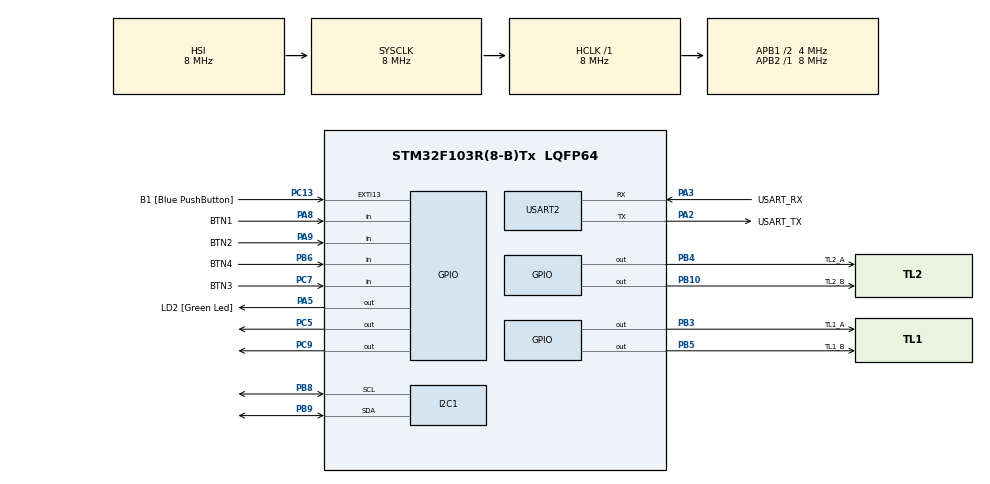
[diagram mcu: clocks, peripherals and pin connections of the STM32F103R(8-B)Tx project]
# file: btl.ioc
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Mcu.Family=STM32F1
Mcu.Name=STM32F103R(8-B)Tx
Mcu.Package=LQFP64
NVIC.EXTI15_10_IRQn=true\:0\:0\:false\:false\:true\:true\:true
NVIC.PriorityGroup=NVIC_PRIORITYGROUP_4
NVIC.TIM2_IRQn=true\:0\:0\:false\:false\:true\:true\:true
PA13.GPIO_Label=TMS
PA13.Mode=Serial_Wire
PA13.Signal=SYS_JTMS-SWDIO
PA14.GPIO_Label=TCK
PA14.Mode=Serial_Wire
PA14.Signal=SYS_JTCK-SWCLK
PA2.GPIO_Label=USART_TX
PA2.GPIO_Mode=GPIO_MODE_AF_PP
PA2.GPIO_PuPd=GPIO_NOPULL
PA2.GPIO_Speed=GPIO_SPEED_FREQ_LOW
PA2.Mode=Asynchronous
PA2.Signal=USART2_TX
PA3.GPIO_Label=USART_RX
PA3.GPIO_Mode=GPIO_MODE_AF_PP
PA3.GPIO_PuPd=GPIO_NOPULL
PA3.GPIO_Speed=GPIO_SPEED_FREQ_LOW
PA3.Mode=Asynchronous
PA3.Signal=USART2_RX
PA5.GPIO_Label=LD2 [Green Led]
PA5.GPIO_ModeDefaultOutputPP=GPIO_MODE_OUTPUT_PP
PA5.GPIO_PuPd=GPIO_NOPULL
PA5.GPIO_Speed=GPIO_SPEED_FREQ_LOW
PA5.Signal=GPIO_Output
PA8.GPIO_Label=BTN1
PA8.GPIO_PuPd=GPIO_PULLUP
PA8.Signal=GPIO_Input
PA9.GPIO_Label=BTN2
PA9.GPIO_PuPd=GPIO_PULLUP
PA9.Signal=GPIO_Input
PB10.GPIO_Label=TL2_B
PB10.Signal=GPIO_Output
PB3.GPIO_Label=TL1_A
PB3.Signal=GPIO_Output
PB4.GPIO_Label=TL2_A
PB4.Signal=GPIO_Output
PB5.GPIO_Label=TL1_B
PB5.Signal=GPIO_Output
PB6.GPIO_Label=BTN4
PB6.GPIO_PuPd=GPIO_PULLUP
PB6.Signal=GPIO_Input
PB8.Mode=I2C
PB8.Signal=I2C1_SCL
PB9.Mode=I2C
PB9.Signal=I2C1_SDA
PC13-TAMPER-RTC.GPIO_Label=B1 [Blue PushButton]
PC13-TAMPER-RTC.GPIO_PuPd=GPIO_NOPULL
PC13-TAMPER-RTC.Signal=GPXTI13
PC14-OSC32_IN.Mode=LSE-External-Oscillator
PC14-OSC32_IN.Signal=RCC_OSC32_IN
PC15-OSC32_OUT.Mode=LSE-External-Oscillator
PC15-OSC32_OUT.Signal=RCC_OSC32_OUT
PC5.Signal=GPIO_Output
PC7.GPIO_Label=BTN3
PC7.GPIO_PuPd=GPIO_PULLUP
PC7.Signal=GPIO_Input
PC9.Signal=GPIO_Output
PD0-OSC_IN.Mode=HSE-External-Clock-Source
PD0-OSC_IN.Signal=RCC_OSC_IN
PD1-OSC_OUT.Mode=HSE-External-Clock-Source
PD1-OSC_OUT.Signal=RCC_OSC_OUT
ProjectManager.HeapSize=0x200
ProjectManager.StackSize=0x400
ProjectManager.TargetToolchain=STM32CubeIDE
RCC.AHBFreq_Value=8000000
RCC.APB1CLKDivider=RCC_HCLK_DIV2
RCC.APB1Freq_Value=4000000
RCC.APB1TimFreq_Value=8000000
RCC.APB2Freq_Value=8000000
RCC.APB2TimFreq_Value=8000000
RCC.HCLKFreq_Value=8000000
RCC.PLLMUL=RCC_PLL_MUL16
RCC.RTCClockSelection=RCC_RTCCLKSOURCE_LSE
RCC.SYSCLKFreq_VALUE=8000000
RCC.USBFreq_Value=64000000
TIM2.Period=9
TIM2.Prescaler=7999
USART2.VirtualMode=VM_ASYNC
VP_TIM2_VS_ClockSourceINT.Mode=Internal
board=NUCLEO-F103RB

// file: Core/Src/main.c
/* USER CODE BEGIN Header */
/**
  ******************************************************************************
  * @file           : main.c
  * @brief          : Main program body
  ******************************************************************************
  * @attention
  *
  * <h2><center>&copy; Copyright (c) 2026 STMicroelectronics.
  * All rights reserved.</center></h2>
  *
  * This software component is licensed by ST under BSD 3-Clause license,
  * the "License"; You may not use this file except in compliance with the
  * License. You may obtain a copy of the License at:
  *                        opensource.org/licenses/BSD-3-Clause
  *
  ******************************************************************************
  */
/* USER CODE END Header */
#include "main.h"

/* USER CODE BEGIN Includes */

#include <stdio.h>
#include <string.h>

// Lớp 1: Hệ thống & Scheduler
#include "global.h"
#include "scheduler.h"
#include "software_timer.h"

// Lớp 2: Drivers Phần cứng
#include "button.h"
#include "traffic_light.h"
#include "lcd.h"
#include "dht20.h"

// Lớp 3: Máy trạng thái FSM
#include "fsm_automatic.h"
#include "fsm_manual.h"
#include "fsm_tuning.h"

/* USER CODE END Includes */

I2C_HandleTypeDef hi2c1;

TIM_HandleTypeDef htim2;

UART_HandleTypeDef huart2;

void SystemClock_Config(void);
static void MX_GPIO_Init(void);
static void MX_USART2_UART_Init(void);
static void MX_TIM2_Init(void);
static void MX_I2C1_Init(void);

/* USER CODE BEGIN 0 */
void HAL_TIM_PeriodElapsedCallback(TIM_HandleTypeDef *htim) {
    if (htim->Instance == TIM2) SCH_Update();
}
// Task 1: Quét 4 nút nhấn chống dội (10ms / 1 tick)
void task_button_scan(void) {
    button_reading();
}

// Task 2: Chạy bộ đếm Software Timer (10ms / 1 tick)
void task_timer_run(void) {
    timerRun();
}

// Task 3: Chạy Máy trạng thái đi�?u khiển hệ thống (10ms / 1 tick)
void task_fsm_run(void) {
	switch (app_mode){
	case MODE_NORMAL:
	    fsm_automatic_run();
	    break;
	case MODE_MANUAL:
	    fsm_manual_run();
	    break;
	case MODE_SET_RED:
	case MODE_SET_AMBER:
	case MODE_SET_GREEN:
	    fsm_tuning_run();
	    break;
	default:
	    fsm_automatic_run();
	    break;
	}
}

// Task 4: Chuẩn bị nội dung hiển thị LCD.
char buf_line1[17];
char buf_line2[17];

static void format_lcd_lines(void) {
    if (app_mode == MODE_MANUAL && fsm_manual_phase_change_active()) {
        snprintf(buf_line1, sizeof(buf_line1), "CHANGE PHASE");
        snprintf(buf_line2, sizeof(buf_line2), "WAITING IN: %us",
                 (unsigned int)fsm_manual_phase_change_seconds());
        return;
    }

    switch (app_mode) {
        case MODE_NORMAL:
            switch (status) {
                case PHASE_A_GREEN:
                    snprintf(buf_line1, sizeof(buf_line1), "AUTO A:G%02u B:R%02u",
                             (unsigned int)count1, (unsigned int)count2);
                    break;
                case PHASE_A_AMBER:
                    snprintf(buf_line1, sizeof(buf_line1), "AUTO A:Y%02u B:R%02u",
                             (unsigned int)count1, (unsigned int)count2);
                    break;
                case PHASE_B_GREEN:
                    snprintf(buf_line1, sizeof(buf_line1), "AUTO A:R%02u B:G%02u",
                             (unsigned int)count1, (unsigned int)count2);
                    break;
                case PHASE_B_AMBER:
                    snprintf(buf_line1, sizeof(buf_line1), "AUTO A:R%02u B:Y%02u",
                             (unsigned int)count1, (unsigned int)count2);
                    break;
                default:
                    snprintf(buf_line1, sizeof(buf_line1), "TRAFFIC ERROR");
                    break;
            }
            if (dht20_ok) {
                int t_tenths = (int)(temperature * 10.0f);
                int t_magnitude = (t_tenths < 0) ? -t_tenths : t_tenths;
                const char *t_sign = (t_tenths < 0) ? "-" : "";

                int h_tenths = (int)(humidity * 10.0f);

                int written = snprintf(buf_line2, sizeof(buf_line2),
                                       "T:%s%d.%dC H:%d.%d%%",
                                       t_sign, t_magnitude / 10,
                                       t_magnitude % 10, h_tenths / 10,
                                       h_tenths % 10);
                if (written < 0) {
                    written = 0;
                } else if (written > (int)(sizeof(buf_line2) - 1)) {
                    written = (int)(sizeof(buf_line2) - 1);
                }

                memset(buf_line2 + written, ' ',
                       sizeof(buf_line2) - 1 - (size_t)written);
                buf_line2[sizeof(buf_line2) - 1] = '\0';
            } else {
                snprintf(buf_line2, sizeof(buf_line2), "DHT20 ERROR!    ");
            }
            break;
        case MODE_MANUAL:
            snprintf(buf_line1, sizeof(buf_line1), "MODE MANUAL     ");
            switch (status) {
                case PHASE_A_GREEN: snprintf(buf_line2, sizeof(buf_line2), "1:GREEN 2:RED   "); break;
                case PHASE_A_AMBER: snprintf(buf_line2, sizeof(buf_line2), "1:AMBER 2:RED   "); break;
                case PHASE_B_GREEN: snprintf(buf_line2, sizeof(buf_line2), "1:RED 2:GREEN   "); break;
                case PHASE_B_AMBER: snprintf(buf_line2, sizeof(buf_line2), "1:RED 2:AMBER   "); break;
                default:            snprintf(buf_line2, sizeof(buf_line2), "1:OFF 2:OFF     "); break;
            }
            break;

        /* ================================================================== */
        /* 3. CHẾ �?Ộ CHỈNH THỜI GIAN (MODE_TUNING)                            */
        /* ================================================================== */
        case MODE_SET_RED:
            snprintf(buf_line1, sizeof(buf_line1), "MODE SET RED    ");
            snprintf(buf_line2, sizeof(buf_line2), "RED TIME:%02us   ",
                     (unsigned int)count1);
            break;

        case MODE_SET_GREEN:
            snprintf(buf_line1, sizeof(buf_line1), "MODE SET GREEN  ");
            snprintf(buf_line2, sizeof(buf_line2), "GREEN TIME:%02us ",
                     (unsigned int)count1);
            break;

        case MODE_SET_AMBER:
            snprintf(buf_line1, sizeof(buf_line1), "MODE SET AMBER  ");
            snprintf(buf_line2, sizeof(buf_line2), "AMBER TIME:%02us ",
                     (unsigned int)count1);
            break;

        default:
            snprintf(buf_line1, sizeof(buf_line1), "WAITING         ");
            snprintf(buf_line2, sizeof(buf_line2), "                ");
            break;
    }

}

void task_lcd_update_line1(void) {
    format_lcd_lines();
    if (lcd_write_line(0U, buf_line1) != HAL_OK) {
        return;
    }
}

void task_lcd_update_line2(void) {
    format_lcd_lines();
    if (lcd_write_line(1U, buf_line2) != HAL_OK) {
        return;
    }
}

// Task 5: Đọc định kỳ DHT20; các thao tác I2C có timeout giới hạn.
void task_dht20_read(void) {
    float temp = 0.0f, hum = 0.0f;
    int dht_status = DHT20_Tick(&temp, &hum);

    if (dht_status == 1) {
        temperature = temp;
        humidity = hum;
        dht20_ok = 1;
    } else if (dht_status == 2) {
        dht20_ok = 0;
    }
}

// Task 6: Nháy LED PA5 báo nhịp tim hệ thống (500ms / 50 ticks)
void task_led_heartbeat(void) {
    HAL_GPIO_TogglePin(GPIOA, GPIO_PIN_5);
}
/* USER CODE END 0 */

int main(void)
{

  /* MCU Configuration--------------------------------------------------------*/

  /* Reset of all peripherals, Initializes the Flash interface and the Systick. */
  HAL_Init();

  /* Configure the system clock */
  SystemClock_Config();

  /* Initialize all configured peripherals */
  MX_GPIO_Init();
  MX_USART2_UART_Init();
  MX_TIM2_Init();
  MX_I2C1_Init();
  /* USER CODE BEGIN 2 */
  // 1. Khởi tạo LCD
  lcd_init();
  lcd_goto_XY(0, 0);
  lcd_send_string("SYSTEM READY!");

  // 2. Khởi tạo trạng thái nút nhấn và cảm biến
  button_init_state();
  DHT20_InitState();

  // 3. Khởi tạo FSM
  app_mode = MODE_NORMAL;
  fsm_automatic_init();
  SCH_Init();

    // 3. �?ăng ký các Task vào Scheduler (�?ơn vị: Tick 10ms)
  SCH_Add_Task(task_button_scan,  0, 1);    // Chu kỳ 10ms
  SCH_Add_Task(task_timer_run,    0, 1);    // Chu kỳ 10ms
  SCH_Add_Task(task_fsm_run,      0, 1);    // Chu kỳ 10ms
  SCH_Add_Task(task_lcd_update_line1, 0, 20);  // Cập nhật dòng 1 mỗi 200ms
  SCH_Add_Task(task_lcd_update_line2, 10, 20); // Cập nhật dòng 2 lệch 100ms
  SCH_Add_Task(task_dht20_read,  10, 1);    // Quét state machine mỗi 10ms
  SCH_Add_Task(task_led_heartbeat,0, 50);   // Chu kỳ 500ms
  HAL_TIM_Base_Start_IT(&htim2);

  /* USER CODE END 2 */

  /* Infinite loop */
  /* USER CODE BEGIN WHILE */
  while (1)
  {

      SCH_Dispatch_Tasks();
    /* USER CODE END WHILE */

  }
}

void SystemClock_Config(void)
{
  RCC_OscInitTypeDef RCC_OscInitStruct = {0};
  RCC_ClkInitTypeDef RCC_ClkInitStruct = {0};

  /** Initializes the RCC Oscillators according to the specified parameters
  * in the RCC_OscInitTypeDef structure.
  */
  RCC_OscInitStruct.OscillatorType = RCC_OSCILLATORTYPE_HSI;
  RCC_OscInitStruct.HSIState = RCC_HSI_ON;
  RCC_OscInitStruct.HSICalibrationValue = RCC_HSICALIBRATION_DEFAULT;
  RCC_OscInitStruct.PLL.PLLState = RCC_PLL_NONE;
  if (HAL_RCC_OscConfig(&RCC_OscInitStruct) != HAL_OK)
  {
    Error_Handler();
  }
  /** Initializes the CPU, AHB and APB buses clocks
  */
  RCC_ClkInitStruct.ClockType = RCC_CLOCKTYPE_HCLK|RCC_CLOCKTYPE_SYSCLK
                              |RCC_CLOCKTYPE_PCLK1|RCC_CLOCKTYPE_PCLK2;
  RCC_ClkInitStruct.SYSCLKSource = RCC_SYSCLKSOURCE_HSI;
  RCC_ClkInitStruct.AHBCLKDivider = RCC_SYSCLK_DIV1;
  RCC_ClkInitStruct.APB1CLKDivider = RCC_HCLK_DIV2;
  RCC_ClkInitStruct.APB2CLKDivider = RCC_HCLK_DIV1;

  if (HAL_RCC_ClockConfig(&RCC_ClkInitStruct, FLASH_LATENCY_0) != HAL_OK)
  {
    Error_Handler();
  }
}

static void MX_I2C1_Init(void)
{

  hi2c1.Instance = I2C1;
  hi2c1.Init.ClockSpeed = 100000;
  hi2c1.Init.DutyCycle = I2C_DUTYCYCLE_2;
  hi2c1.Init.OwnAddress1 = 0;
  hi2c1.Init.AddressingMode = I2C_ADDRESSINGMODE_7BIT;
  hi2c1.Init.DualAddressMode = I2C_DUALADDRESS_DISABLE;
  hi2c1.Init.OwnAddress2 = 0;
  hi2c1.Init.GeneralCallMode = I2C_GENERALCALL_DISABLE;
  hi2c1.Init.NoStretchMode = I2C_NOSTRETCH_DISABLE;
  if (HAL_I2C_Init(&hi2c1) != HAL_OK)
  {
    Error_Handler();
  }

}

static void MX_TIM2_Init(void)
{

  TIM_ClockConfigTypeDef sClockSourceConfig = {0};
  TIM_MasterConfigTypeDef sMasterConfig = {0};

  htim2.Instance = TIM2;
  htim2.Init.Prescaler = 7999;
  htim2.Init.CounterMode = TIM_COUNTERMODE_UP;
  htim2.Init.Period = 9;
  htim2.Init.ClockDivision = TIM_CLOCKDIVISION_DIV1;
  htim2.Init.AutoReloadPreload = TIM_AUTORELOAD_PRELOAD_DISABLE;
  if (HAL_TIM_Base_Init(&htim2) != HAL_OK)
  {
    Error_Handler();
  }
  sClockSourceConfig.ClockSource = TIM_CLOCKSOURCE_INTERNAL;
  if (HAL_TIM_ConfigClockSource(&htim2, &sClockSourceConfig) != HAL_OK)
  {
    Error_Handler();
  }
  sMasterConfig.MasterOutputTrigger = TIM_TRGO_RESET;
  sMasterConfig.MasterSlaveMode = TIM_MASTERSLAVEMODE_DISABLE;
  if (HAL_TIMEx_MasterConfigSynchronization(&htim2, &sMasterConfig) != HAL_OK)
  {
    Error_Handler();
  }

}

static void MX_USART2_UART_Init(void)
{

  huart2.Instance = USART2;
  huart2.Init.BaudRate = 115200;
  huart2.Init.WordLength = UART_WORDLENGTH_8B;
  huart2.Init.StopBits = UART_STOPBITS_1;
  huart2.Init.Parity = UART_PARITY_NONE;
  huart2.Init.Mode = UART_MODE_TX_RX;
  huart2.Init.HwFlowCtl = UART_HWCONTROL_NONE;
  huart2.Init.OverSampling = UART_OVERSAMPLING_16;
  if (HAL_UART_Init(&huart2) != HAL_OK)
  {
    Error_Handler();
  }

}

static void MX_GPIO_Init(void)
{
  GPIO_InitTypeDef GPIO_InitStruct = {0};

  /* GPIO Ports Clock Enable */
  __HAL_RCC_GPIOC_CLK_ENABLE();
  __HAL_RCC_GPIOD_CLK_ENABLE();
  __HAL_RCC_GPIOA_CLK_ENABLE();
  __HAL_RCC_GPIOB_CLK_ENABLE();

  /*Configure GPIO pin Output Level */
  HAL_GPIO_WritePin(LD2_GPIO_Port, LD2_Pin, GPIO_PIN_RESET);

  /*Configure GPIO pin Output Level */
  HAL_GPIO_WritePin(GPIOC, GPIO_PIN_5|GPIO_PIN_9, GPIO_PIN_RESET);

  /*Configure GPIO pin Output Level */
  HAL_GPIO_WritePin(GPIOB, TL2_B_Pin|TL1_A_Pin|TL2_A_Pin|TL1_B_Pin, GPIO_PIN_RESET);

  /*Configure GPIO pin : B1_Pin */
  GPIO_InitStruct.Pin = B1_Pin;
  GPIO_InitStruct.Mode = GPIO_MODE_IT_RISING;
  GPIO_InitStruct.Pull = GPIO_NOPULL;
  HAL_GPIO_Init(B1_GPIO_Port, &GPIO_InitStruct);

  /*Configure GPIO pin : LD2_Pin */
  GPIO_InitStruct.Pin = LD2_Pin;
  GPIO_InitStruct.Mode = GPIO_MODE_OUTPUT_PP;
  GPIO_InitStruct.Pull = GPIO_NOPULL;
  GPIO_InitStruct.Speed = GPIO_SPEED_FREQ_LOW;
  HAL_GPIO_Init(LD2_GPIO_Port, &GPIO_InitStruct);

  /*Configure GPIO pins : PC5 PC9 */
  GPIO_InitStruct.Pin = GPIO_PIN_5|GPIO_PIN_9;
  GPIO_InitStruct.Mode = GPIO_MODE_OUTPUT_PP;
  GPIO_InitStruct.Pull = GPIO_NOPULL;
  GPIO_InitStruct.Speed = GPIO_SPEED_FREQ_LOW;
  HAL_GPIO_Init(GPIOC, &GPIO_InitStruct);

  /*Configure GPIO pins : TL2_B_Pin TL1_A_Pin TL2_A_Pin TL1_B_Pin */
  GPIO_InitStruct.Pin = TL2_B_Pin|TL1_A_Pin|TL2_A_Pin|TL1_B_Pin;
  GPIO_InitStruct.Mode = GPIO_MODE_OUTPUT_PP;
  GPIO_InitStruct.Pull = GPIO_NOPULL;
  GPIO_InitStruct.Speed = GPIO_SPEED_FREQ_LOW;
  HAL_GPIO_Init(GPIOB, &GPIO_InitStruct);

  /*Configure GPIO pin : BTN3_Pin */
  GPIO_InitStruct.Pin = BTN3_Pin;
  GPIO_InitStruct.Mode = GPIO_MODE_INPUT;
  GPIO_InitStruct.Pull = GPIO_PULLUP;
  HAL_GPIO_Init(BTN3_GPIO_Port, &GPIO_InitStruct);

  /*Configure GPIO pins : BTN1_Pin BTN2_Pin */
  GPIO_InitStruct.Pin = BTN1_Pin|BTN2_Pin;
  GPIO_InitStruct.Mode = GPIO_MODE_INPUT;
  GPIO_InitStruct.Pull = GPIO_PULLUP;
  HAL_GPIO_Init(GPIOA, &GPIO_InitStruct);

  /*Configure GPIO pin : BTN4_Pin */
  GPIO_InitStruct.Pin = BTN4_Pin;
  GPIO_InitStruct.Mode = GPIO_MODE_INPUT;
  GPIO_InitStruct.Pull = GPIO_PULLUP;
  HAL_GPIO_Init(BTN4_GPIO_Port, &GPIO_InitStruct);

  /* EXTI interrupt init*/
  HAL_NVIC_SetPriority(EXTI15_10_IRQn, 0, 0);
  HAL_NVIC_EnableIRQ(EXTI15_10_IRQn);

}

void Error_Handler(void)
{
  __disable_irq();
  while (1)
  {
  }
}

/************************ (C) COPYRIGHT STMicroelectronics *****END OF FILE****/
